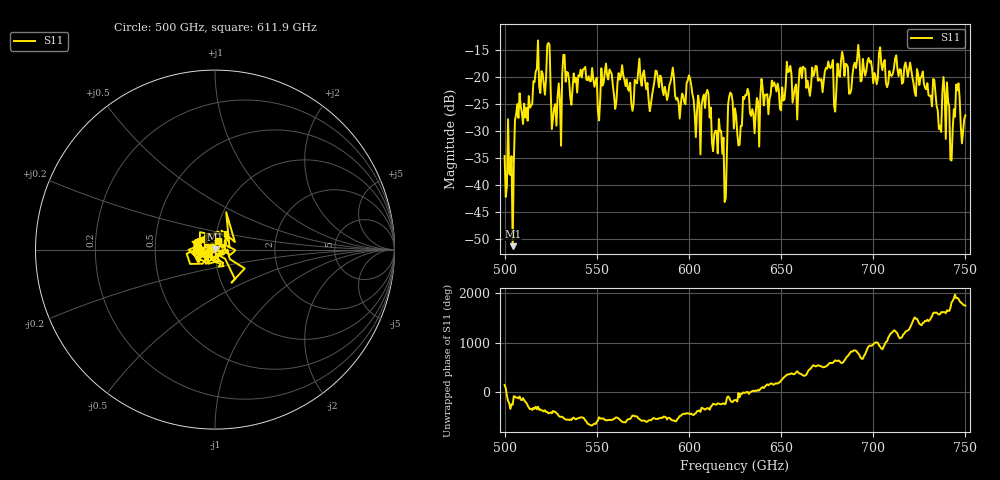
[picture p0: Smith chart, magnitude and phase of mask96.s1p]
!Created with skrf (http://scikit-rf.org).
# GHz S MA R 50.0
!freq magS11 angS11
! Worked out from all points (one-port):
!   401 points, 500 GHz to 750 GHz, reference 50 ohm
!   lowest |S11| = -51.3 dB at 504.4 GHz (marker M1), VSWR 1.01, Z = 49.9 + j0.252 ohm
!   |S11| at or under -10 dB: start of sweep to end of sweep
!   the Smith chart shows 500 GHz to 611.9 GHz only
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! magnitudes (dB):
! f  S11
! 500 GHz  -34.6
! 504.4 GHz  -51.3
! 506.9 GHz  -25.0
! 513.8 GHz  -25.7
! 516.9 GHz  -19.0
! 523.8 GHz  -13.7
! 526.9 GHz  -25.7
! 531.2 GHz  -19.6
! 562.5 GHz  -20.5
! 579.4 GHz  -25.0
! 590.6 GHz  -19.8
! 593.8 GHz  -23.9
! 600 GHz  -19.7
! 605 GHz  -23.4
! 609.4 GHz  -23.1
! 619.4 GHz  -43.2
! 622.5 GHz  -22.9
! 625 GHz  -25.8
! 656.2 GHz  -24.8
! 683.8 GHz  -16.4
! 687.5 GHz  -23.0
! 691.2 GHz  -16.7
! 718.8 GHz  -20.0
! 735.6 GHz  -29.7
! 738.8 GHz  -23.0
! 743.1 GHz  -29.6
! 745.6 GHz  -22.5
! 750 GHz  -27.1
